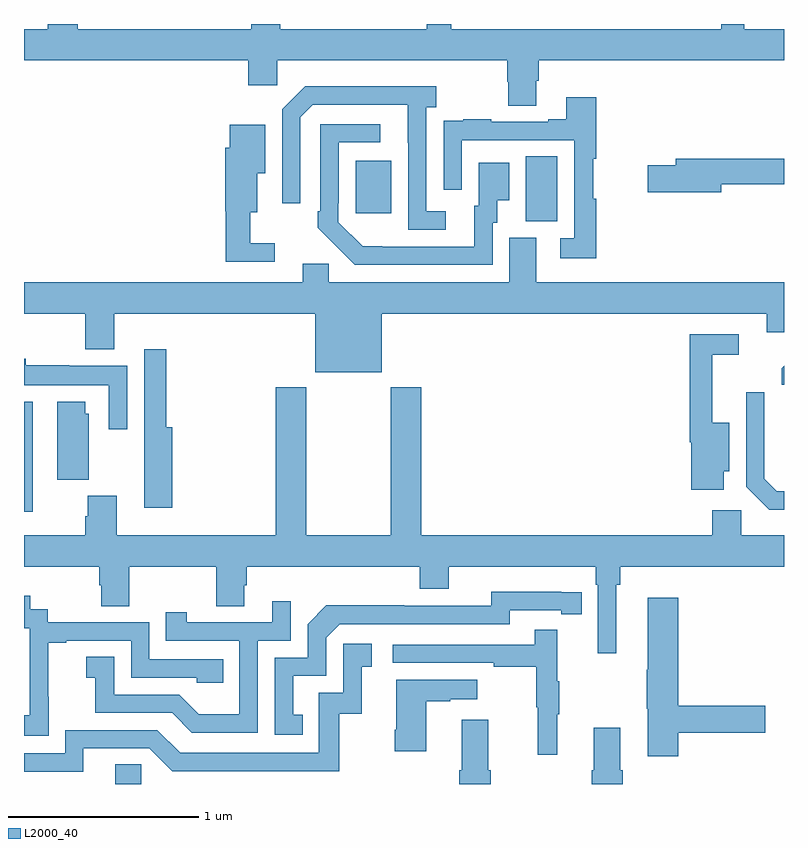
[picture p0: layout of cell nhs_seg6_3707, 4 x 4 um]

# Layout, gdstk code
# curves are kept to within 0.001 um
import gdstk
lib = gdstk.Library(unit=1e-6, precision=1e-09)
def R(c, l, rs):  # rectangles x0, y0, x1, y1
    for r in rs: c.add(gdstk.rectangle(r[:2], r[2:], *l))
def P(c, l, *ps):  # polygons
    for p in ps: c.add(gdstk.Polygon(p, *l))
L2000_40 = (2000, 40)

nhs_seg6_3707 = lib.new_cell('nhs_seg6_3707')
R(nhs_seg6_3707, L2000_40, [(327.479,971.5,327.618,971.603), (327,972.932,327.046,973.513), (329.642,974.461,329.806,974.804), (328.745,974.505,328.933,974.779)])
P(nhs_seg6_3707, L2000_40, [(329.695,975.202),(329.708,975.202),(329.708,975.308),(331,975.308),(331,975.472),(330.79,975.472),(330.79,975.5),(330.669,975.5),(330.669,975.472),(329.249,975.472),(329.249,975.5),(329.12,975.5),(329.12,975.472),(328.348,975.472),(328.348,975.5),(328.196,975.5),(328.196,975.472),(327.284,975.472),(327.284,975.5),(327.124,975.5),(327.124,975.472),(327,975.472),(327,975.308),(328.181,975.308),(328.181,975.177),(328.332,975.177),(328.332,975.308),(329.543,975.308),(329.543,975.195),(329.548,975.195),(329.548,975.07),(329.695,975.07)],
  [(329.221,974.514),(329.118,974.514),(329.118,975.062),(329.17,975.062),(329.17,975.172),(328.48,975.172),(328.359,975.051),(328.359,974.556),(328.455,974.556),(328.455,975.009),(328.521,975.075),(329.021,975.075),(329.022,974.418),(329.221,974.418)],
  [(330.011,974.58),(329.996,974.58),(329.996,974.792),(330.011,974.792),(330.011,975.115),(329.855,975.115),(329.855,974.998),(329.759,974.998),(329.759,974.985),(329.459,974.985),(329.459,974.998),(329.311,974.998),(329.311,974.991),(329.209,974.991),(329.209,974.882),(329.208,974.882),(329.208,974.628),(329.304,974.628),(329.304,974.889),(329.895,974.889),(329.895,974.373),(329.823,974.373),(329.823,974.268),(330.011,974.268)],
  [(329.466,974.454),(329.491,974.454),(329.491,974.573),(329.554,974.573),(329.554,974.77),(329.393,974.77),(329.393,974.544),(329.369,974.544),(329.369,974.328),(328.782,974.329),(328.653,974.457),(328.653,974.557),(328.656,974.557),(328.656,974.877),(328.876,974.877),(328.876,974.973),(328.56,974.973),(328.56,974.515),(328.545,974.515),(328.545,974.427),(328.742,974.232),(329.466,974.232)],
  [(328.321,974.347),(328.192,974.347),(328.192,974.51),(328.228,974.51),(328.228,974.714),(328.27,974.714),(328.27,974.971),(328.082,974.971),(328.082,974.85),(328.058,974.85),(328.058,974.514),(328.063,974.514),(328.063,974.25),(328.321,974.25)],
  [(330.67,974.656),(331,974.656),(331,974.792),(330.431,974.792),(330.431,974.756),(330.282,974.756),(330.282,974.614),(330.67,974.614)],
  [(328.882,973.976),(330.908,973.976),(330.908,973.878),(331,973.878),(331,974.14),(329.695,974.14),(329.695,974.376),(329.555,974.376),(329.555,974.14),(328.605,974.14),(328.605,974.238),(328.466,974.238),(328.466,974.14),(327,974.14),(327,973.976),(327.323,973.976),(327.323,973.787),(327.475,973.787),(327.475,973.976),(328.532,973.976),(328.532,973.667),(328.882,973.667)],
  [(330.682,973.145),(330.712,973.145),(330.712,973.402),(330.623,973.402),(330.623,973.758),(330.763,973.758),(330.763,973.866),(330.505,973.866),(330.505,973.298),(330.512,973.298),(330.512,973.05),(330.682,973.05)],
  [(327.779,973.378),(327.749,973.378),(327.749,973.789),(327.633,973.789),(327.633,973.274),(327.632,973.274),(327.632,972.954),(327.779,972.954)],
  [(327.543,973.702),(327.239,973.702),(327.239,973.705),(327.008,973.705),(327.008,973.738),(327,973.738),(327,973.598),(327.447,973.598),(327.447,973.368),(327.543,973.368)],
  [(331,973.702),(330.987,973.689),(330.987,973.601),(331,973.601)],
  [(330.118,972.548),(330.137,972.548),(330.137,972.644),(331,972.644),(331,972.808),(330.774,972.808),(330.774,972.94),(330.623,972.94),(330.623,972.808),(329.09,972.808),(329.09,973.588),(328.93,973.588),(328.93,972.808),(328.485,972.808),(328.485,973.588),(328.325,973.588),(328.325,972.808),(327.488,972.808),(327.488,973.017),(327.335,973.017),(327.335,972.908),(327.323,972.908),(327.323,972.808),(327,972.808),(327,972.644),(327.395,972.644),(327.395,972.546),(327.407,972.546),(327.407,972.436),(327.555,972.436),(327.555,972.644),(328.012,972.644),(328.012,972.436),(328.159,972.436),(328.159,972.546),(328.172,972.546),(328.172,972.644),(329.084,972.644),(329.084,972.527),(329.236,972.527),(329.236,972.644),(330.008,972.644),(330.008,972.548),(330.021,972.548),(330.021,972.189),(330.118,972.189)],
  [(331,973.041),(330.963,973.041),(330.897,973.107),(330.897,973.561),(330.801,973.561),(330.801,973.065),(330.922,972.944),(331,972.944)],
  [(327.34,973.449),(327.322,973.449),(327.322,973.513),(327.176,973.513),(327.176,973.102),(327.34,973.102)],
  [(328.466,971.865),(328.417,971.865),(328.417,972.069),(328.59,972.069),(328.59,972.27),(328.662,972.342),(329.556,972.342),(329.556,972.414),(329.828,972.414),(329.828,972.394),(329.936,972.394),(329.936,972.51),(329.46,972.511),(329.46,972.438),(329,972.438),(329,972.44),(328.592,972.44),(328.494,972.342),(328.494,972.165),(328.32,972.165),(328.32,971.76),(328.466,971.76)],
  [(327.129,971.959),(327.128,971.959),(327.128,972.243),(327.223,972.243),(327.223,972.255),(327.564,972.255),(327.564,972.06),(327.909,972.06),(327.909,972.033),(328.049,972.033),(328.049,972.156),(327.66,972.156),(327.66,972.351),(327.126,972.351),(327.126,972.42),(327.034,972.42),(327.034,972.49),(327,972.49),(327,972.321),(327.03,972.321),(327.03,972.092),(327.029,972.092),(327.029,971.863),(327,971.863),(327,971.753),(327.129,971.753)],
  [(330.443,971.77),(330.901,971.77),(330.901,971.912),(330.443,971.912),(330.443,972.481),(330.284,972.481),(330.284,972.101),(330.277,972.101),(330.277,971.895),(330.284,971.895),(330.284,971.646),(330.443,971.646)],
  [(328.23,972.255),(328.404,972.255),(328.404,972.463),(328.307,972.463),(328.307,972.351),(327.856,972.351),(327.856,972.403),(327.745,972.403),(327.745,972.255),(328.134,972.255),(328.134,971.866),(327.92,971.866),(327.816,971.97),(327.474,971.97),(327.474,972.169),(327.327,972.169),(327.327,972.059),(327.376,972.059),(327.376,971.874),(327.779,971.874),(327.884,971.769),(328.23,971.769)],
  [(329.807,971.867),(329.818,971.867),(329.818,972.041),(329.807,972.041),(329.807,972.313),(329.689,972.313),(329.689,972.234),(328.941,972.234),(328.941,972.138),(329.473,972.138),(329.473,972.118),(329.697,972.118),(329.697,971.904),(329.704,971.904),(329.704,971.655),(329.807,971.655)],
  [(327.313,971.688),(327.66,971.688),(327.78,971.568),(328.66,971.568),(328.66,971.871),(328.778,971.871),(328.778,972.117),(328.831,972.117),(328.831,972.238),(328.68,972.238),(328.68,971.979),(328.551,971.979),(328.551,971.664),(327.822,971.664),(327.702,971.784),(327.216,971.784),(327.216,971.661),(327,971.661),(327,971.565),(327.313,971.565)],
  [(329.116,971.935),(329.243,971.935),(329.243,971.945),(329.386,971.945),(329.386,972.049),(328.958,972.049),(328.958,971.785),(328.951,971.785),(328.951,971.673),(329.116,971.673)],
  [(329.456,971.572),(329.443,971.572),(329.443,971.839),(329.303,971.839),(329.303,971.572),(329.291,971.572),(329.291,971.5),(329.456,971.5)],
  [(330.152,971.572),(330.139,971.572),(330.139,971.797),(329.999,971.797),(329.999,971.572),(329.987,971.572),(329.987,971.5),(330.152,971.5)])

lib.write_gds('nhs_seg6_3707.gds')
